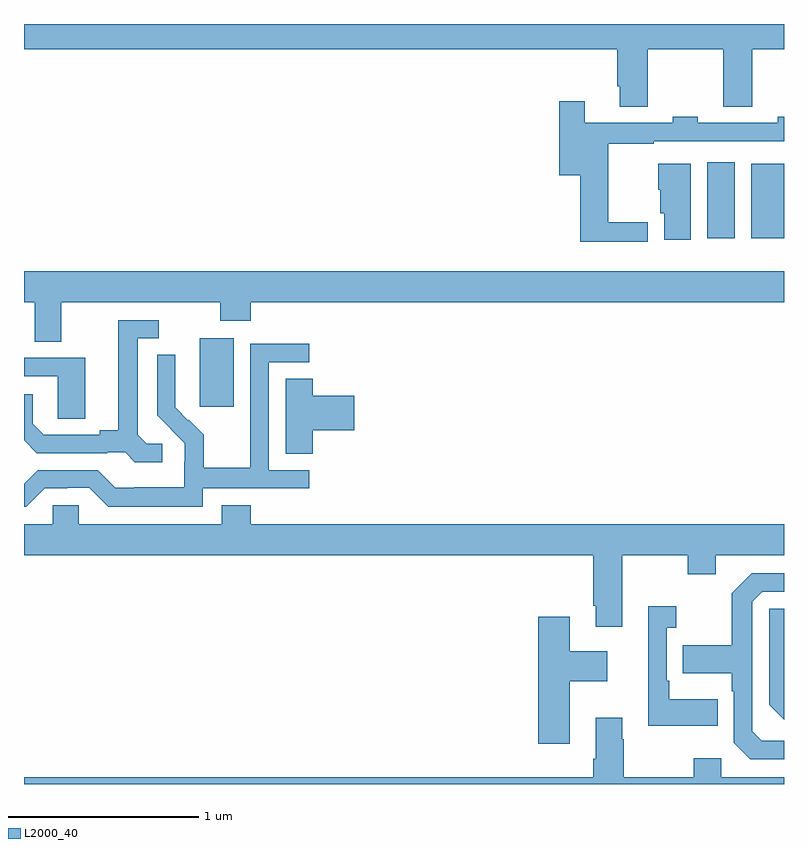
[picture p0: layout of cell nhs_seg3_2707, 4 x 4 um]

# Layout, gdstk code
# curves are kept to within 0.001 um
import gdstk
lib = gdstk.Library(unit=1e-6, precision=1e-09)
def R(c, l, rs):  # rectangles x0, y0, x1, y1
    for r in rs: c.add(gdstk.rectangle(r[:2], r[2:], *l))
def P(c, l, *ps):  # polygons
    for p in ps: c.add(gdstk.Polygon(p, *l))
L2000_40 = (2000, 40)

nhs_seg3_2707 = lib.new_cell('nhs_seg3_2707')
R(nhs_seg3_2707, L2000_40, [(251.924,680.385,252.103,680.746), (254.597,681.272,254.74,681.673), (254.828,681.272,255,681.664)])
P(nhs_seg3_2707, L2000_40, [(254.282,682.268),(254.68,682.268),(254.68,681.964),(254.834,681.964),(254.834,682.268),(255,682.268),(255,682.4),(251,682.4),(251,682.268),(254.123,682.268),(254.123,682.072),(254.135,682.072),(254.135,681.964),(254.282,681.964)],
  [(254.284,681.356),(254.074,681.356),(254.074,681.771),(254.315,681.771),(254.315,681.783),(255,681.783),(255,681.912),(254.967,681.912),(254.967,681.879),(254.547,681.879),(254.547,681.912),(254.415,681.912),(254.415,681.879),(253.951,681.879),(253.951,681.994),(253.817,681.994),(253.817,681.605),(253.928,681.605),(253.928,681.254),(254.284,681.254)],
  [(254.509,681.664),(254.339,681.664),(254.339,681.528),(254.348,681.528),(254.348,681.405),(254.369,681.405),(254.369,681.264),(254.509,681.264)],
  [(251.197,680.936),(252.034,680.936),(252.034,680.837),(252.194,680.837),(252.194,680.936),(255,680.936),(255,681.1),(251,681.1),(251,680.936),(251.057,680.936),(251.057,680.728),(251.197,680.728)],
  [(251.728,680.19),(251.646,680.19),(251.599,680.237),(251.599,680.745),(251.71,680.745),(251.71,680.841),(251.495,680.841),(251.495,680.261),(251.399,680.261),(251.399,680.238),(251.104,680.238),(251.047,680.295),(251.047,680.452),(251,680.452),(251,680.208),(251.066,680.142),(251.438,680.142),(251.438,680.145),(251.532,680.145),(251.584,680.093),(251.728,680.093)],
  [(251.94,679.956),(252.502,679.956),(252.502,680.052),(252.288,680.052),(252.288,680.619),(252.502,680.619),(252.502,680.718),(252.192,680.718),(252.192,680.288),(252.19,680.288),(252.19,680.065),(251.945,680.065),(251.945,680.239),(251.868,680.316),(251.865,680.313),(251.795,680.384),(251.796,680.66),(251.7,680.66),(251.7,680.342),(251.846,680.194),(251.846,680.097),(251.844,680.097),(251.844,679.963),(251.581,679.963),(251.581,679.959),(251.481,679.959),(251.388,680.052),(251.073,680.052),(251,679.979),(251,679.86),(251.013,679.86),(251.109,679.956),(251.228,679.956),(251.228,679.959),(251.343,679.959),(251.443,679.859),(251.94,679.859)],
  [(251.323,680.643),(251,680.643),(251,680.547),(251.178,680.547),(251.178,680.323),(251.323,680.323)],
  [(252.521,680.261),(252.739,680.261),(252.739,680.444),(252.521,680.444),(252.521,680.534),(252.377,680.534),(252.377,680.137),(252.521,680.137)],
  [(252.194,679.867),(252.041,679.867),(252.041,679.768),(251.289,679.768),(251.289,679.866),(251.151,679.866),(251.151,679.768),(251,679.768),(251,679.604),(253.997,679.604),(253.997,679.339),(254.009,679.339),(254.009,679.227),(254.149,679.227),(254.149,679.604),(254.494,679.604),(254.494,679.505),(254.641,679.505),(254.641,679.604),(255,679.604),(255,679.768),(252.194,679.768)],
  [(255,678.627),(254.883,678.627),(254.832,678.678),(254.832,679.359),(254.886,679.413),(255,679.413),(255,679.509),(254.829,679.509),(254.724,679.403),(254.724,679.131),(254.467,679.131),(254.467,678.983),(254.724,678.983),(254.724,678.887),(254.736,678.887),(254.736,678.618),(254.823,678.531),(255,678.531)],
  [(254.651,678.847),(254.395,678.847),(254.395,678.943),(254.382,678.943),(254.382,679.223),(254.434,679.223),(254.434,679.336),(254.285,679.336),(254.285,678.707),(254.651,678.707)],
  [(255,679.323),(254.922,679.323),(254.922,678.816),(255,678.738)],
  [(253.873,678.941),(254.071,678.941),(254.071,679.099),(253.873,679.099),(253.873,679.279),(253.706,679.279),(253.706,678.612),(253.873,678.612)],
  [(255,678.436),(254.67,678.436),(254.67,678.535),(254.524,678.535),(254.524,678.436),(254.157,678.436),(254.157,678.635),(254.149,678.635),(254.149,678.748),(254.009,678.748),(254.009,678.532),(253.997,678.532),(253.997,678.436),(251,678.436),(251,678.4),(255,678.4)])

lib.write_gds('nhs_seg3_2707.gds')
